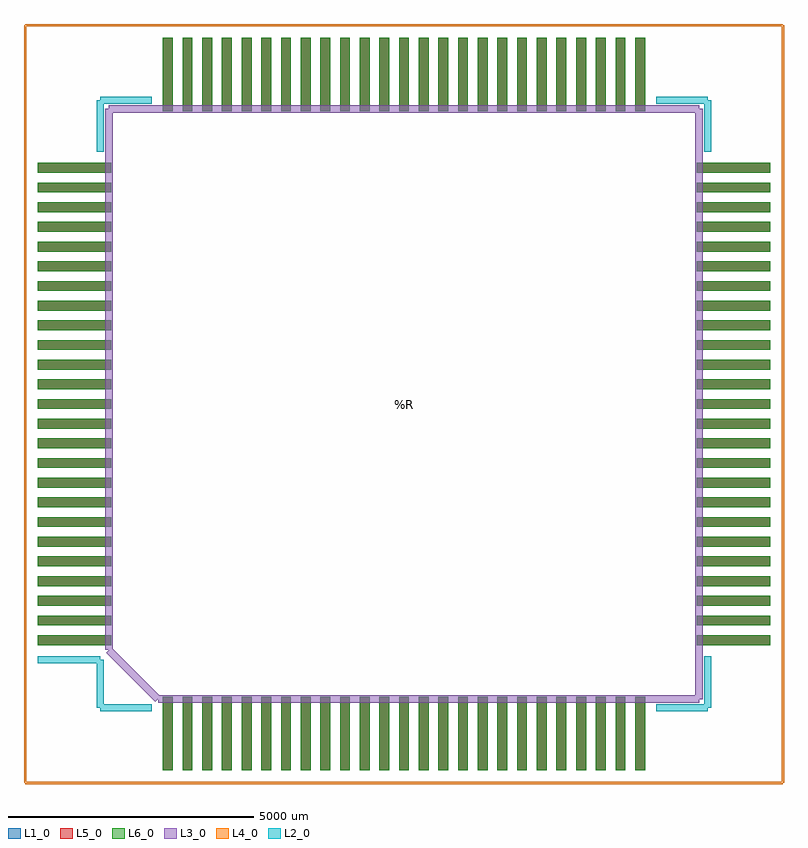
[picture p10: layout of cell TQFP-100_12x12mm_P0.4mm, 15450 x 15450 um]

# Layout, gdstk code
import gdstk
lib = gdstk.Library(unit=1e-6, precision=1e-09)
def R(c, l, rs):  # rectangles x0, y0, x1, y1
    for r in rs: c.add(gdstk.rectangle(r[:2], r[2:], *l))
def A(c, l, x, y, w, h, nx, ny, dx, dy):  # array of equal rectangles
    R(c, l, [(x+i*dx, y+j*dy, x+i*dx+w, y+j*dy+h) for i in range(nx) for j in range(ny)])
L1_0 = (1, 0)
L2_0 = (2, 0)
L3_0 = (3, 0)
L4_0 = (4, 0)
L5_0 = (5, 0)
L6_0 = (6, 0)

tqfp_100_12x12mm_p0_4mm = lib.new_cell('TQFP-100_12x12mm_P0.4mm')
A(tqfp_100_12x12mm_p0_4mm, L1_0, -4900, -7450, 200, 1500, 25, 2, 400, 13400)
A(tqfp_100_12x12mm_p0_4mm, L1_0, -7450, -4900, 1500, 200, 1, 25, 0, 400)
A(tqfp_100_12x12mm_p0_4mm, L1_0, 5950, -4900, 1500, 200, 1, 25, 0, 400)
A(tqfp_100_12x12mm_p0_4mm, L5_0, -4900, -7450, 200, 1500, 25, 2, 400, 13400)
A(tqfp_100_12x12mm_p0_4mm, L5_0, -7450, -4900, 1500, 200, 1, 25, 0, 400)
A(tqfp_100_12x12mm_p0_4mm, L5_0, 5950, -4900, 1500, 200, 1, 25, 0, 400)
A(tqfp_100_12x12mm_p0_4mm, L6_0, -4900, -7450, 200, 1500, 25, 2, 400, 13400)
A(tqfp_100_12x12mm_p0_4mm, L6_0, -7450, -4900, 1500, 200, 1, 25, 0, 400)
A(tqfp_100_12x12mm_p0_4mm, L6_0, 5950, -4900, 1500, 200, 1, 25, 0, 400)
tqfp_100_12x12mm_p0_4mm.add(gdstk.FlexPath([(-5000,-6000),(6000,-6000)], 150, ends="flush", simple_path=True, layer=3, datatype=0))  # L3_0
tqfp_100_12x12mm_p0_4mm.add(gdstk.FlexPath([(6000,-6000),(6000,6000)], 150, ends="flush", simple_path=True, layer=3, datatype=0))  # L3_0
tqfp_100_12x12mm_p0_4mm.add(gdstk.FlexPath([(6000,6000),(-6000,6000)], 150, ends="flush", simple_path=True, layer=3, datatype=0))  # L3_0
tqfp_100_12x12mm_p0_4mm.add(gdstk.FlexPath([(-6000,6000),(-6000,-5000)], 150, ends="flush", simple_path=True, layer=3, datatype=0))  # L3_0
tqfp_100_12x12mm_p0_4mm.add(gdstk.FlexPath([(-6000,-5000),(-5000,-6000)], 150, ends="flush", simple_path=True, layer=3, datatype=0))  # L3_0
tqfp_100_12x12mm_p0_4mm.add(gdstk.FlexPath([(-7700,-7700),(-7700,7700)], 50, ends="flush", simple_path=True, layer=4, datatype=0))  # L4_0
tqfp_100_12x12mm_p0_4mm.add(gdstk.FlexPath([(7700,-7700),(7700,7700)], 50, ends="flush", simple_path=True, layer=4, datatype=0))  # L4_0
tqfp_100_12x12mm_p0_4mm.add(gdstk.FlexPath([(-7700,-7700),(7700,-7700)], 50, ends="flush", simple_path=True, layer=4, datatype=0))  # L4_0
tqfp_100_12x12mm_p0_4mm.add(gdstk.FlexPath([(-7700,7700),(7700,7700)], 50, ends="flush", simple_path=True, layer=4, datatype=0))  # L4_0
tqfp_100_12x12mm_p0_4mm.add(gdstk.FlexPath([(-6175,-6175),(-6175,-5200)], 150, ends="flush", simple_path=True, layer=2, datatype=0))  # L2_0
tqfp_100_12x12mm_p0_4mm.add(gdstk.FlexPath([(6175,-6175),(6175,-5125)], 150, ends="flush", simple_path=True, layer=2, datatype=0))  # L2_0
tqfp_100_12x12mm_p0_4mm.add(gdstk.FlexPath([(6175,6175),(6175,5125)], 150, ends="flush", simple_path=True, layer=2, datatype=0))  # L2_0
tqfp_100_12x12mm_p0_4mm.add(gdstk.FlexPath([(-6175,6175),(-6175,5125)], 150, ends="flush", simple_path=True, layer=2, datatype=0))  # L2_0
tqfp_100_12x12mm_p0_4mm.add(gdstk.FlexPath([(-6175,-6175),(-5125,-6175)], 150, ends="flush", simple_path=True, layer=2, datatype=0))  # L2_0
tqfp_100_12x12mm_p0_4mm.add(gdstk.FlexPath([(-6175,6175),(-5125,6175)], 150, ends="flush", simple_path=True, layer=2, datatype=0))  # L2_0
tqfp_100_12x12mm_p0_4mm.add(gdstk.FlexPath([(6175,6175),(5125,6175)], 150, ends="flush", simple_path=True, layer=2, datatype=0))  # L2_0
tqfp_100_12x12mm_p0_4mm.add(gdstk.FlexPath([(6175,-6175),(5125,-6175)], 150, ends="flush", simple_path=True, layer=2, datatype=0))  # L2_0
tqfp_100_12x12mm_p0_4mm.add(gdstk.FlexPath([(-6175,-5200),(-7450,-5200)], 150, ends="flush", simple_path=True, layer=2, datatype=0))  # L2_0
tqfp_100_12x12mm_p0_4mm.add(gdstk.Label('REF**', (0,-8450), layer=2, texttype=0))
tqfp_100_12x12mm_p0_4mm.add(gdstk.Label('TQFP-100_12x12mm_P0.4mm', (0,8450), layer=3, texttype=0))
tqfp_100_12x12mm_p0_4mm.add(gdstk.Label('%R', (0,0), layer=3, texttype=0))

lib.write_gds('TQFP-100_12x12mm_P0.4mm.gds')
